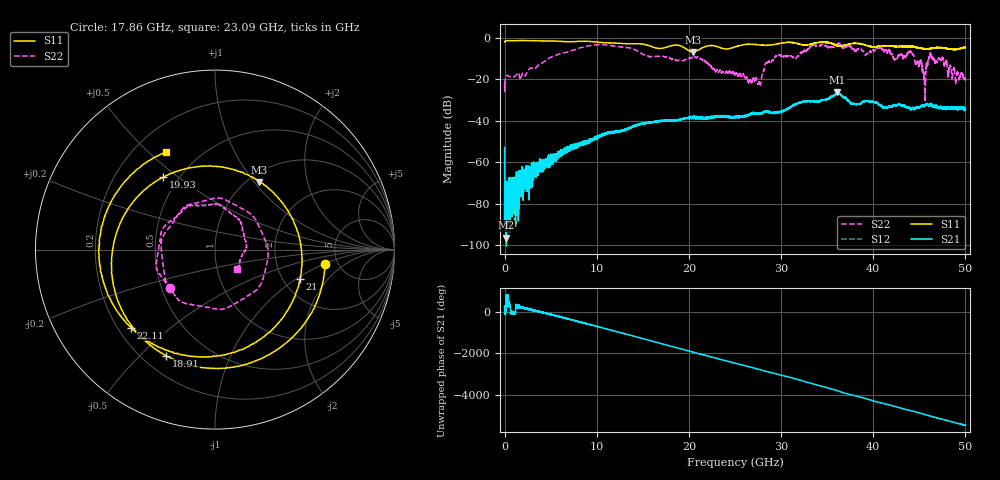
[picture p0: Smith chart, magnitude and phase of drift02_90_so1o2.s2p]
!Created with skrf (http://scikit-rf.org).
# Hz S RI R 50.0
!freq ReS11 ImS11 ReS21 ImS21 ReS12 ImS12 ReS22 ImS22
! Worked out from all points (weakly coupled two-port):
!   10001 points, 300 kHz to 50 GHz, reference 50 ohm
!   highest |S21| = -26.22 dB at 36.12 GHz (marker M1); lowest = -96.3 dB at 160.3 MHz (marker M2)
!   lowest |S11| = -6.9 dB at 20.42 GHz (marker M3), VSWR 2.65, Z = 56.2 + j53.3 ohm
!   |S11| at or under -10 dB: nowhere
!   |S22| runs from -31.1 to -2.6 dB; largest |S21 - S12| = 0.0053
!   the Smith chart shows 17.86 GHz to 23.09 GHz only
!   S11 on the Smith chart (normalised r, x): 17.86 GHz: 3.96, -1.05; 18.91 GHz: 0.29, -0.60; 19.93 GHz: 0.41, +0.44; 21 GHz: 2.46, -1.09; 22.11 GHz: 0.25, -0.37; 23.09 GHz: 0.33, +0.57
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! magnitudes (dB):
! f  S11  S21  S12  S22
! 300 kHz  -2.0  -52.9  -73.9  -21.7
! 160.3 MHz  -1.5  -96.3  -77.4  -18.4
! 260.3 MHz  -1.4  -77.4  -78.9  -18.2
! 8.335 GHz  -1.7  -51.2  -51.2  -4.7
! 16.67 GHz  -5.2  -40.4  -40.3  -9.0
! 17.86 GHz  -4.2  -40.0  -40.0  -9.6
! 18.91 GHz  -3.7  -39.5  -39.6  -10.8
! 19.93 GHz  -6.1  -38.7  -38.6  -9.9
! 20.42 GHz  -6.9  -38.4  -38.8  -9.8
! 21 GHz  -6.0  -38.5  -38.4  -9.4
! 22.11 GHz  -3.9  -38.7  -38.7  -12.7
! 23.09 GHz  -4.3  -37.7  -38.2  -15.8
! 25 GHz  -4.5  -38.4  -38.3  -17.8
! 27.63 GHz  -3.5  -36.6  -36.6  -21.3
! 29.54 GHz  -3.0  -35.9  -36.1  -8.8
! 33.34 GHz  -3.1  -30.6  -30.6  -3.8
! 36.12 GHz  -3.8  -26.2  -27.0  -3.2
! 41.67 GHz  -3.9  -33.4  -33.3  -6.0
! 44.14 GHz  -4.2  -34.3  -34.5  -7.0
! 45.5 GHz  -5.4  -33.0  -33.0  -17.2
! 46.29 GHz  -5.2  -32.4  -32.5  -9.4
! 50 GHz  -4.8  -34.8  -34.4  -20.1
